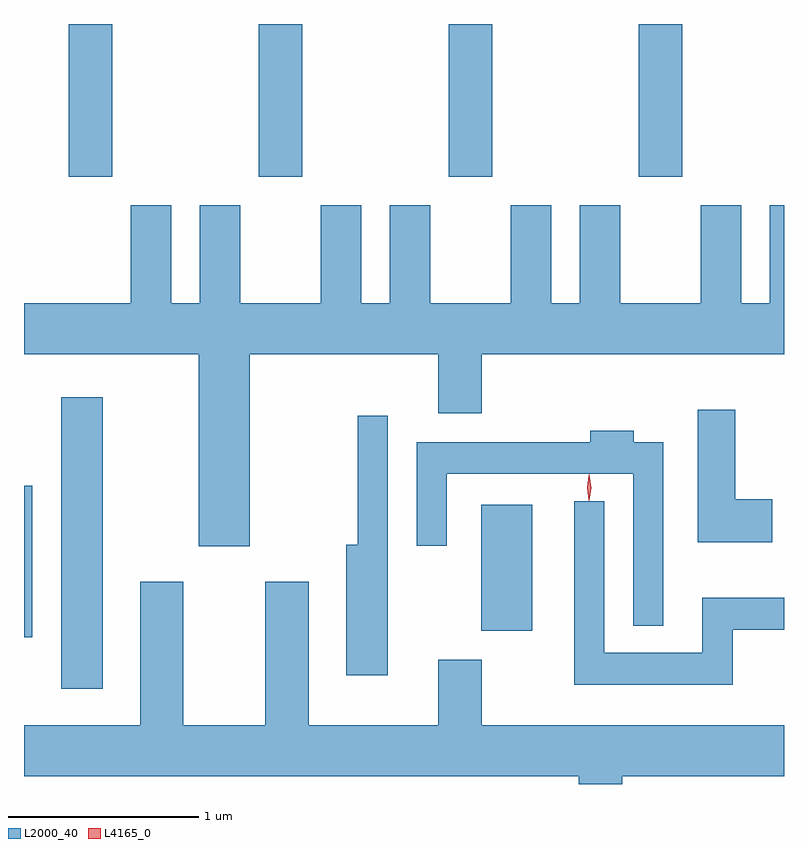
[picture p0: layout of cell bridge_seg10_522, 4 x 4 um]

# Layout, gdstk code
import gdstk
lib = gdstk.Library(unit=1e-6, precision=1e-09)
def R(c, l, rs):  # rectangles x0, y0, x1, y1
    for r in rs: c.add(gdstk.rectangle(r[:2], r[2:], *l))
def A(c, l, x, y, w, h, nx, ny, dx, dy):  # array of equal rectangles
    R(c, l, [(x+i*dx, y+j*dy, x+i*dx+w, y+j*dy+h) for i in range(nx) for j in range(ny)])
def P(c, l, *ps):  # polygons
    for p in ps: c.add(gdstk.Polygon(p, *l))
L2000_40 = (2000, 40)
L4165_0 = (4165, 0)

bridge_seg10_522 = lib.new_cell('bridge_seg10_522')
A(bridge_seg10_522, L2000_40, 780.306, 2170.351, 0.228, 0.803, 4, 1, 1, 0)
R(bridge_seg10_522, L2000_40, [(780.266,2167.656,780.484,2169.189), (780.07,2167.926,780.114,2168.723), (782.476,2167.961,782.744,2168.624)])
P(bridge_seg10_522, L2000_40, [(781.259,2169.416),(782.251,2169.416),(782.251,2169.106),(782.479,2169.106),(782.479,2169.416),(784.07,2169.416),(784.07,2170.199),(783.996,2170.199),(783.996,2169.684),(783.844,2169.684),(783.844,2170.199),(783.631,2170.199),(783.631,2169.684),(783.209,2169.684),(783.209,2170.199),(782.996,2170.199),(782.996,2169.684),(782.844,2169.684),(782.844,2170.199),(782.631,2170.199),(782.631,2169.684),(782.209,2169.684),(782.209,2170.199),(781.996,2170.199),(781.996,2169.684),(781.844,2169.684),(781.844,2170.199),(781.631,2170.199),(781.631,2169.684),(781.209,2169.684),(781.209,2170.199),(780.996,2170.199),(780.996,2169.684),(780.844,2169.684),(780.844,2170.199),(780.631,2170.199),(780.631,2169.684),(780.07,2169.684),(780.07,2169.416),(780.991,2169.416),(780.991,2168.406),(781.259,2168.406)],
  [(784.009,2168.654),(783.814,2168.654),(783.814,2169.124),(783.616,2169.124),(783.616,2168.426),(784.009,2168.426)],
  [(781.984,2169.093),(781.826,2169.093),(781.826,2168.414),(781.766,2168.414),(781.766,2167.726),(781.984,2167.726)],
  [(783.434,2168.954),(783.279,2168.954),(783.279,2169.014),(783.051,2169.014),(783.051,2168.954),(782.136,2168.954),(782.136,2168.408),(782.294,2168.408),(782.294,2168.786),(783.276,2168.786),(783.276,2167.988),(783.434,2167.988)],
  [(783.799,2167.966),(784.07,2167.966),(784.07,2168.134),(783.641,2168.134),(783.641,2167.844),(783.124,2167.844),(783.124,2168.643),(782.966,2168.643),(782.966,2167.676),(783.799,2167.676)],
  [(783.219,2167.196),(784.07,2167.196),(784.07,2167.464),(782.479,2167.464),(782.479,2167.809),(782.251,2167.809),(782.251,2167.464),(781.569,2167.464),(781.569,2168.219),(781.341,2168.219),(781.341,2167.464),(780.909,2167.464),(780.909,2168.219),(780.681,2168.219),(780.681,2167.464),(780.07,2167.464),(780.07,2167.196),(782.991,2167.196),(782.991,2167.154),(783.219,2167.154)])
P(bridge_seg10_522, L4165_0, [(783.044,2168.644),(783.035,2168.713),(783.044,2168.782),(783.045,2168.783),(783.046,2168.782),(783.055,2168.713),(783.046,2168.644),(783.045,2168.644)],
  [(783.044,2168.647),(783.043,2168.648),(783.034,2168.714),(783.043,2168.78),(783.044,2168.78),(783.044,2168.78),(783.054,2168.714),(783.044,2168.648)])

lib.write_gds('bridge_seg10_522.gds')
